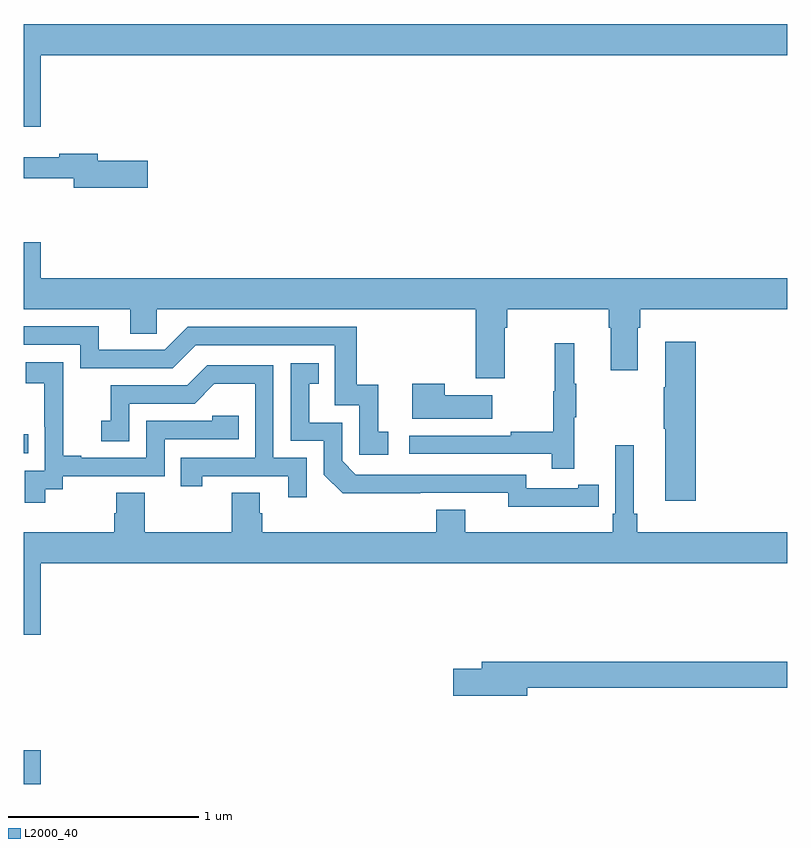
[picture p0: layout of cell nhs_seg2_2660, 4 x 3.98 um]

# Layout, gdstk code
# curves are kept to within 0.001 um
import gdstk
lib = gdstk.Library(unit=1e-6, precision=1e-09)
def R(c, l, rs):  # rectangles x0, y0, x1, y1
    for r in rs: c.add(gdstk.rectangle(r[:2], r[2:], *l))
def P(c, l, *ps):  # polygons
    for p in ps: c.add(gdstk.Polygon(p, *l))
L2000_40 = (2000, 40)

nhs_seg2_2660 = lib.new_cell('nhs_seg2_2660')
R(nhs_seg2_2660, L2000_40, [(249,659.8,249.088,659.977), (249,661.533,249.023,661.634)])
P(nhs_seg2_2660, L2000_40, [(249.088,663.62),(253,663.62),(253,663.784),(249,663.784),(249,663.246),(249.088,663.246)],
  [(249.649,663.068),(249.388,663.068),(249.388,663.104),(249.184,663.104),(249.184,663.085),(249,663.085),(249,662.976),(249.26,662.976),(249.26,662.926),(249.649,662.926)],
  [(251.521,662.192),(251.534,662.192),(251.534,662.288),(252.065,662.288),(252.065,662.192),(252.077,662.192),(252.077,661.968),(252.217,661.968),(252.217,662.192),(252.23,662.192),(252.23,662.288),(253,662.288),(253,662.452),(249.088,662.452),(249.088,662.641),(249,662.641),(249,662.288),(249.557,662.288),(249.557,662.161),(249.696,662.161),(249.696,662.288),(251.369,662.288),(251.369,661.926),(251.521,661.926)],
  [(250.909,661.647),(250.856,661.647),(250.856,661.894),(250.745,661.894),(250.745,662.196),(249.858,662.196),(249.738,662.076),(249.391,662.076),(249.391,662.199),(249,662.199),(249,662.103),(249.294,662.103),(249.294,661.98),(249.78,661.98),(249.9,662.1),(250.629,662.1),(250.629,661.785),(250.758,661.785),(250.758,661.527),(250.909,661.527)],
  [(252.521,662.119),(252.362,662.119),(252.362,661.88),(252.355,661.88),(252.355,661.663),(252.362,661.663),(252.362,661.284),(252.521,661.284)],
  [(251.885,661.723),(251.896,661.723),(251.896,661.897),(251.885,661.897),(251.885,662.11),(251.782,662.11),(251.782,661.86),(251.775,661.86),(251.775,661.646),(251.551,661.646),(251.551,661.626),(251.019,661.626),(251.019,661.53),(251.767,661.53),(251.767,661.452),(251.885,661.452)],
  [(249.112,661.345),(249.204,661.345),(249.204,661.413),(249.738,661.413),(249.738,661.608),(250.127,661.608),(250.127,661.731),(249.987,661.731),(249.987,661.704),(249.642,661.704),(249.642,661.509),(249.301,661.509),(249.301,661.522),(249.206,661.522),(249.206,661.805),(249.207,661.805),(249.207,662.011),(249.009,662.011),(249.009,661.901),(249.107,661.901),(249.107,661.673),(249.108,661.673),(249.108,661.443),(249.003,661.443),(249.003,661.275),(249.112,661.275)],
  [(251.906,661.254),(252.014,661.254),(252.014,661.37),(251.906,661.37),(251.906,661.35),(251.634,661.35),(251.634,661.422),(250.74,661.422),(250.668,661.494),(250.668,661.695),(250.495,661.695),(250.495,661.899),(250.544,661.899),(250.544,662.005),(250.398,662.005),(250.398,661.599),(250.572,661.599),(250.572,661.422),(250.67,661.325),(251.538,661.326),(251.538,661.253)],
  [(250.482,661.509),(250.308,661.509),(250.308,661.995),(249.962,661.995),(249.857,661.89),(249.454,661.89),(249.454,661.705),(249.405,661.705),(249.405,661.596),(249.552,661.596),(249.552,661.794),(249.894,661.794),(249.998,661.898),(250.212,661.898),(250.212,661.509),(249.823,661.509),(249.823,661.362),(249.934,661.362),(249.934,661.413),(250.385,661.413),(250.385,661.302),(250.482,661.302)],
  [(251.455,661.837),(251.207,661.837),(251.207,661.897),(251.036,661.897),(251.036,661.715),(251.455,661.715)],
  [(253,661.12),(252.215,661.12),(252.215,661.216),(252.196,661.216),(252.196,661.576),(252.099,661.576),(252.099,661.216),(252.086,661.216),(252.086,661.12),(251.314,661.12),(251.314,661.237),(251.162,661.237),(251.162,661.12),(250.25,661.12),(250.25,661.218),(250.237,661.218),(250.237,661.328),(250.09,661.328),(250.09,661.12),(249.633,661.12),(249.633,661.328),(249.485,661.328),(249.485,661.218),(249.473,661.218),(249.473,661.12),(249,661.12),(249,660.582),(249.088,660.582),(249.088,660.956),(253,660.956)],
  [(251.638,660.304),(253,660.304),(253,660.44),(251.399,660.44),(251.399,660.404),(251.25,660.404),(251.25,660.262),(251.638,660.262)])

lib.write_gds('nhs_seg2_2660.gds')
